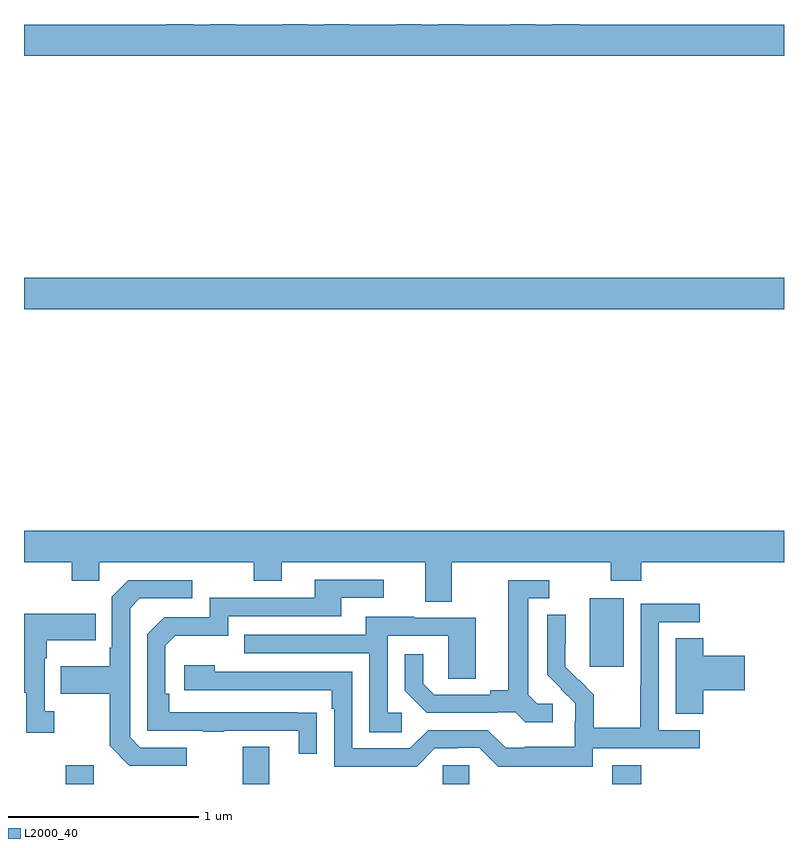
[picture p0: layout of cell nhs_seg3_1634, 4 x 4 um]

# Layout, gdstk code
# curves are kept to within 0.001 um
import gdstk
lib = gdstk.Library(unit=1e-6, precision=1e-09)
def R(c, l, rs):  # rectangles x0, y0, x1, y1
    for r in rs: c.add(gdstk.rectangle(r[:2], r[2:], *l))
def P(c, l, *ps):  # polygons
    for p in ps: c.add(gdstk.Polygon(p, *l))
L2000_40 = (2000, 40)

nhs_seg3_1634 = lib.new_cell('nhs_seg3_1634')
R(nhs_seg3_1634, L2000_40, [(195.22,714.4,195.367,714.499), (196.151,714.4,196.291,714.595), (197.205,714.4,197.343,714.498), (198.095,714.4,198.248,714.499), (197.978,715.017,198.157,715.378), (195,716.9,199,717.064)])
P(nhs_seg3_1634, L2000_40, [(199,718.396),(197.924,718.396),(197.924,718.4),(197.78,718.4),(197.78,718.396),(197.692,718.396),(197.692,718.4),(197.561,718.4),(197.561,718.396),(197.311,718.396),(197.311,718.4),(197.18,718.4),(197.18,718.396),(197.092,718.396),(197.092,718.4),(196.961,718.4),(196.961,718.396),(196.711,718.396),(196.711,718.4),(196.58,718.4),(196.58,718.396),(196.492,718.396),(196.492,718.4),(196.361,718.4),(196.361,718.396),(196.111,718.396),(196.111,718.4),(195.98,718.4),(195.98,718.396),(195.892,718.396),(195.892,718.4),(195.749,718.4),(195.749,718.396),(195,718.396),(195,718.232),(199,718.232)],
  [(197.251,715.568),(198.088,715.568),(198.088,715.469),(198.248,715.469),(198.248,715.568),(199,715.568),(199,715.732),(195,715.732),(195,715.568),(195.25,715.568),(195.25,715.469),(195.396,715.469),(195.396,715.568),(196.21,715.568),(196.21,715.469),(196.357,715.469),(196.357,715.568),(197.111,715.568),(197.111,715.36),(197.251,715.36)],
  [(196.541,714.776),(195.764,714.777),(195.764,714.874),(195.744,714.874),(195.744,715.128),(195.797,715.181),(196.074,715.181),(196.074,715.284),(196.669,715.284),(196.669,715.38),(196.894,715.38),(196.894,715.476),(196.529,715.476),(196.529,715.38),(195.978,715.38),(195.978,715.278),(195.738,715.278),(195.648,715.188),(195.648,714.681),(195.943,714.681),(195.943,714.676),(196.055,714.676),(196.055,714.681),(196.445,714.681),(196.445,714.558),(196.541,714.558)],
  [(195.856,714.591),(195.612,714.591),(195.558,714.645),(195.558,715.326),(195.609,715.377),(195.886,715.377),(195.886,715.473),(195.549,715.473),(195.462,715.386),(195.462,715.117),(195.45,715.117),(195.45,715.021),(195.193,715.021),(195.193,714.874),(195.45,714.874),(195.45,714.601),(195.555,714.495),(195.856,714.495)],
  [(197.782,714.822),(197.7,714.822),(197.653,714.869),(197.653,715.377),(197.764,715.377),(197.764,715.473),(197.549,715.473),(197.549,714.893),(197.453,714.893),(197.453,714.87),(197.158,714.87),(197.101,714.927),(197.101,715.084),(197.004,715.084),(197.004,714.89),(197.12,714.774),(197.492,714.774),(197.492,714.777),(197.586,714.777),(197.638,714.725),(197.782,714.725)],
  [(197.994,714.588),(198.556,714.588),(198.556,714.684),(198.342,714.684),(198.342,715.251),(198.556,715.251),(198.556,715.35),(198.246,715.35),(198.246,714.92),(198.244,714.92),(198.244,714.697),(197.999,714.697),(197.999,714.871),(197.922,714.948),(197.919,714.945),(197.849,715.016),(197.85,715.292),(197.754,715.292),(197.754,714.974),(197.9,714.826),(197.9,714.729),(197.898,714.729),(197.898,714.595),(197.635,714.595),(197.635,714.591),(197.535,714.591),(197.442,714.684),(197.127,714.684),(197.031,714.588),(196.728,714.588),(196.728,714.99),(196.004,714.99),(196.004,715.024),(195.843,715.024),(195.843,714.894),(196.619,714.894),(196.619,714.797),(196.632,714.797),(196.632,714.492),(197.067,714.492),(197.163,714.588),(197.282,714.588),(197.282,714.591),(197.397,714.591),(197.497,714.491),(197.994,714.491)],
  [(195.16,714.782),(195.108,714.782),(195.108,715.061),(195.121,715.061),(195.121,715.157),(195.377,715.157),(195.377,715.297),(195,715.297),(195,714.881),(195.011,714.881),(195.011,714.669),(195.16,714.669)],
  [(196.987,714.774),(196.914,714.774),(196.914,715.179),(197.232,715.179),(197.232,714.955),(197.377,714.955),(197.377,715.275),(197.053,715.275),(197.053,715.279),(196.799,715.279),(196.799,715.185),(196.159,715.185),(196.159,715.089),(196.818,715.089),(196.818,714.673),(196.987,714.673)],
  [(198.575,714.893),(198.793,714.893),(198.793,715.076),(198.575,715.076),(198.575,715.166),(198.431,715.166),(198.431,714.769),(198.575,714.769)])

lib.write_gds('nhs_seg3_1634.gds')
